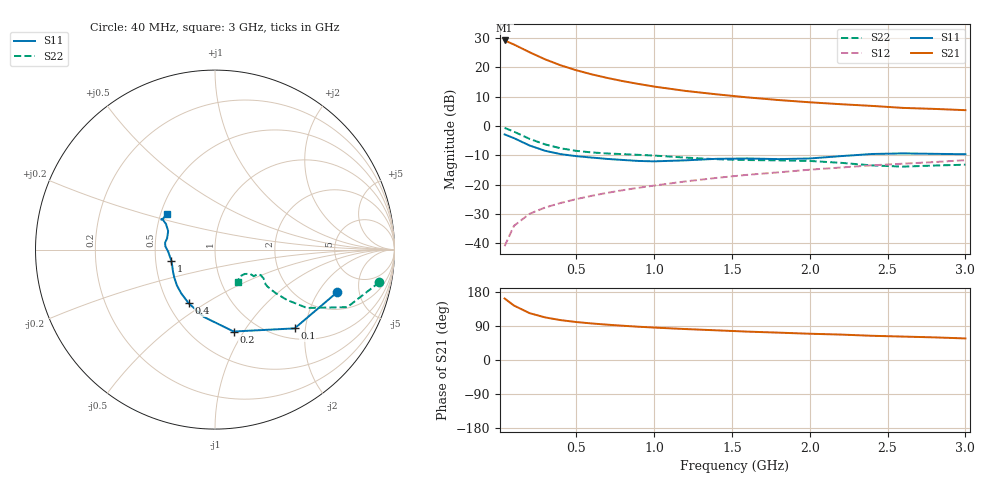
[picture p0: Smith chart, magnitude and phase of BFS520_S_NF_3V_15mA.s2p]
! Filename:  BFS520D.S2P  Version:  4.0
! Philips part #: BFS520  Date: Jun 1994
! Bias condition: Vce=3V, Ic=15mA
#  MHz  S  MA  R  50
! Freq  S11  S21  S12  S22  !GUM [dB]
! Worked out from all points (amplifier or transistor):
!   21 points, 40 MHz to 3 GHz, reference 50 ohm
!   highest |S21| = 29.2 dB at 40 MHz (marker M1)
!   |S21| within 3 dB of that: start of sweep to 161.7 MHz
!   unconditionally stable (mu >= 1): 712.6 MHz to end of sweep
!   at 300 MHz: K = 0.74, MSG = 25.3 dB, |S12| = -27.7 dB
!   at 1 GHz: K = 1.07, MAG = 15.2 dB, |S12| = -20.3 dB
!   at 3 GHz: K = 1.05, MAG = 7.2 dB, |S12| = -11.6 dB
!   lowest NFmin = 1.30 dB at 500 MHz
!   S11 on the Smith chart (normalised r, x): 40 MHz: 3.05, -3.01; 100 MHz: 1.22, -1.75; 200 MHz: 0.77, -0.90; 400 MHz: 0.63, -0.43; 1 GHz: 0.60, -0.08; 3 GHz: 0.54, +0.24
40  0.722 -19.1  28.82 162.3  0.009 80.4  0.934 -11.2
100  0.624 -44.7  24.59 143.7  0.02 70.1  0.804 -23.5
200  0.468 -77.2  18.17 123.7  0.032 63.0  0.607 -32.4
300  0.38 -99.5  13.75 112.4  0.041 62.8  0.488 -35.0
400  0.333 -116.1  10.88 105.2  0.049 64.1  0.419 -35.6
500  0.308 -127.7  8.966 100.2  0.057 65.5  0.379 -35.5
600  0.291 -137.0  7.618 96.4  0.065 67.1  0.356 -35.1
700  0.276 -145.0  6.619 93.2  0.073 68.5  0.342 -34.5
800  0.265 -151.8  5.841 90.4  0.081 69.6  0.333 -33.3
900  0.255 -159.0  5.231 87.8  0.089 70.4  0.324 -32.0
1000  0.251 -165.8  4.723 85.6  0.097 70.9  0.315 -30.7
1200  0.261 -177.4  3.986 81.7  0.114 71.8  0.291 -29.1
1400  0.277 176.3  3.485 78.3  0.131 72.5  0.273 -30.3
1600  0.281 172.1  3.087 74.9  0.148 72.2  0.264 -33.7
1800  0.274 166.7  2.782 72.2  0.163 72.5  0.261 -34.7
2000  0.281 158.3  2.548 69.3  0.181 72.3  0.255 -34.4
2200  0.308 152.4  2.362 67.1  0.197 72.4  0.237 -34.8
2400  0.335 150.2  2.21 63.9  0.215 72.0  0.214 -39.3
2600  0.343 150.8  2.043 61.8  0.229 71.0  0.204 -47.0
2800  0.337 149.0  1.965 59.7  0.244 71.1  0.213 -52.4
3000  0.332 143.5  1.869 56.9  0.263 70.4  0.22 -54.2
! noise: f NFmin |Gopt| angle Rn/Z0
500  1.3  0.098  37  0.2
900  1.45  0.075  99  0.18
2000  2.05  0.265  -158  0.18
